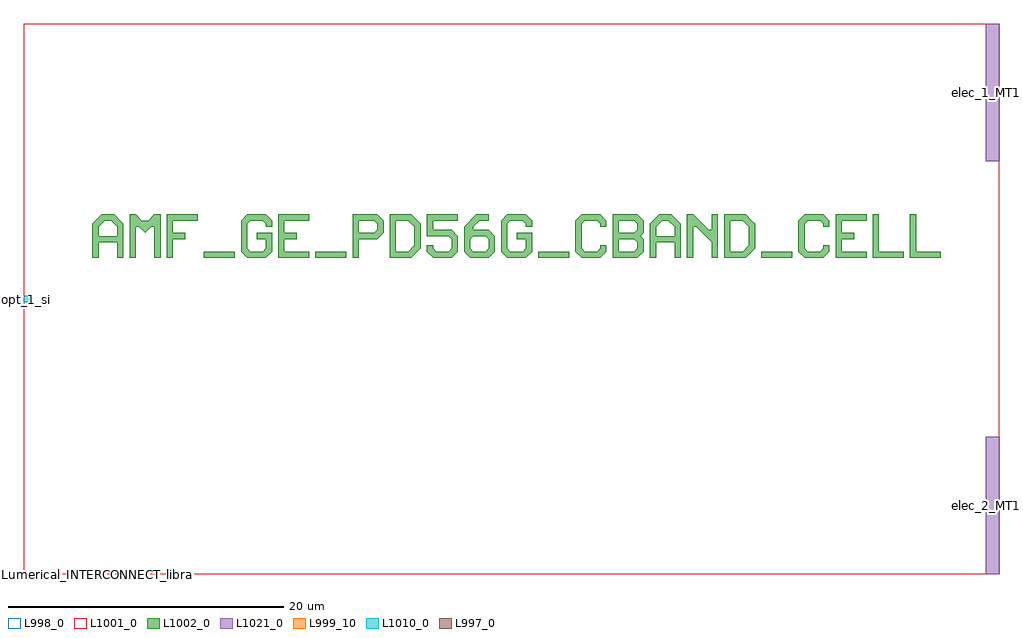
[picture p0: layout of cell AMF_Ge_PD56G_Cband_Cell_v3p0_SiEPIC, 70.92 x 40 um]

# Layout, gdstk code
import gdstk
lib = gdstk.Library(unit=1e-6, precision=1e-09)
def R(c, l, rs):  # rectangles x0, y0, x1, y1
    for r in rs: c.add(gdstk.rectangle(r[:2], r[2:], *l))
def A(c, l, x, y, w, h, nx, ny, dx, dy):  # array of equal rectangles
    R(c, l, [(x+i*dx, y+j*dy, x+i*dx+w, y+j*dy+h) for i in range(nx) for j in range(ny)])
def P(c, l, *ps):  # polygons
    for p in ps: c.add(gdstk.Polygon(p, *l))
L997_0 = (997, 0)
L998_0 = (998, 0)
L999_10 = (999, 10)
L1001_0 = (1001, 0)
L1002_0 = (1002, 0)
L1010_0 = (1010, 0)
L1021_0 = (1021, 0)

amf_ge_pd56g_cband_cell_ = lib.new_cell('AMF_Ge_PD56G_Cband_Cell_v3p0')
R(amf_ge_pd56g_cband_cell_, L1001_0, [(0,-20,70.9,20)])
A(amf_ge_pd56g_cband_cell_, L1002_0, 21.2, 3, 2.25, 0.45, 3, 1, 16.2, 0)
R(amf_ge_pd56g_cband_cell_, L1002_0, [(13.1,3,15.35,3.45)])
P(amf_ge_pd56g_cband_cell_, L1002_0, [(5,3),(5,5.475),(5.675,6.15),(6.575,6.15),(7.025,5.7),(5.9,5.7),(5.45,5.25),(5.45,4.575),(6.8,4.575),(6.8,5.25),(6.35,5.7),(7.025,5.7),(7.25,5.475),(7.25,3),(6.8,3),(6.8,4.125),(5.45,4.125),(5.45,3)],
  [(7.7,3),(7.7,6.15),(8.15,6.15),(8.6,5.7),(9.05,5.7),(9.5,6.15),(9.95,6.15),(9.95,3),(9.5,3),(9.5,5.25),(9.275,5.25),(8.825,4.8),(8.375,5.25),(8.15,5.25),(8.15,3)],
  [(10.4,3),(10.4,6.15),(12.65,6.15),(12.65,5.7),(10.85,5.7),(10.85,4.8),(11.75,4.8),(11.75,4.35),(10.85,4.35),(10.85,3)],
  [(16.25,3),(15.8,3.45),(15.8,5.7),(16.25,6.15),(17.6,6.15),(18.05,5.7),(18.05,5.25),(17.6,5.25),(17.6,5.475),(17.375,5.7),(16.475,5.7),(16.25,5.475),(16.25,3.675),(16.475,3.45),(17.375,3.45),(17.6,3.675),(17.6,4.35),(16.925,4.35),(16.925,4.8),(18.05,4.8),(18.05,3.45),(17.6,3)],
  [(18.5,3),(18.5,6.15),(20.75,6.15),(20.75,5.7),(18.95,5.7),(18.95,4.8),(19.85,4.8),(19.85,4.35),(18.95,4.35),(18.95,3.45),(20.75,3.45),(20.75,3)],
  [(23.9,3),(23.9,6.15),(25.7,6.15),(26.15,5.7),(26.15,4.8),(25.7,4.35),(24.35,4.35),(24.35,4.8),(25.475,4.8),(25.7,5.025),(25.7,5.475),(25.475,5.7),(24.35,5.7),(24.35,3)],
  [(26.6,3),(26.6,6.15),(28.175,6.15),(28.625,5.7),(27.05,5.7),(27.05,3.45),(27.95,3.45),(28.4,3.9),(28.4,5.25),(27.95,5.7),(28.625,5.7),(28.85,5.475),(28.85,3.675),(28.175,3)],
  [(29.75,3),(29.3,3.45),(29.3,3.9),(29.75,3.9),(29.75,3.675),(29.975,3.45),(30.875,3.45),(31.1,3.675),(31.1,4.35),(30.875,4.575),(29.3,4.575),(29.3,6.15),(31.55,6.15),(31.55,5.7),(29.75,5.7),(29.75,5.025),(31.1,5.025),(31.55,4.575),(31.55,3.45),(31.1,3)],
  [(32.45,3),(32,3.45),(32,5.25),(32.9,6.15),(33.8,6.15),(33.8,5.7),(33.125,5.7),(32.675,5.25),(32.675,5.025),(33.8,5.025),(34.25,4.575),(32.675,4.575),(32.45,4.35),(32.45,3.675),(32.675,3.45),(33.575,3.45),(33.8,3.675),(33.8,4.35),(33.575,4.575),(34.25,4.575),(34.25,3.45),(33.8,3)],
  [(35.15,3),(34.7,3.45),(34.7,5.7),(35.15,6.15),(36.5,6.15),(36.95,5.7),(36.95,5.25),(36.5,5.25),(36.5,5.475),(36.275,5.7),(35.375,5.7),(35.15,5.475),(35.15,3.675),(35.375,3.45),(36.275,3.45),(36.5,3.675),(36.5,4.35),(35.825,4.35),(35.825,4.8),(36.95,4.8),(36.95,3.45),(36.5,3)],
  [(40.55,3),(40.1,3.45),(40.1,5.7),(40.55,6.15),(41.9,6.15),(42.35,5.7),(42.35,5.25),(41.9,5.25),(41.9,5.475),(41.675,5.7),(40.775,5.7),(40.55,5.475),(40.55,3.675),(40.775,3.45),(41.675,3.45),(41.9,3.675),(41.9,3.9),(42.35,3.9),(42.35,3.45),(41.9,3)],
  [(42.8,3),(42.8,6.15),(44.6,6.15),(45.05,5.7),(43.25,5.7),(43.25,4.8),(44.375,4.8),(44.6,5.025),(44.6,5.475),(44.375,5.7),(45.05,5.7),(45.05,4.8),(44.825,4.575),(45.05,4.35),(43.25,4.35),(43.25,3.45),(44.375,3.45),(44.6,3.675),(44.6,4.125),(44.375,4.35),(45.05,4.35),(45.05,3.45),(44.6,3)],
  [(45.5,3),(45.5,5.475),(46.175,6.15),(47.075,6.15),(47.525,5.7),(46.4,5.7),(45.95,5.25),(45.95,4.575),(47.3,4.575),(47.3,5.25),(46.85,5.7),(47.525,5.7),(47.75,5.475),(47.75,3),(47.3,3),(47.3,4.125),(45.95,4.125),(45.95,3)],
  [(48.2,3),(48.2,6.15),(48.65,6.15),(49.775,5.025),(50,5.025),(50,6.15),(50.45,6.15),(50.45,3),(50,3),(50,4.125),(48.875,5.25),(48.65,5.25),(48.65,3)],
  [(50.9,3),(50.9,6.15),(52.475,6.15),(52.925,5.7),(51.35,5.7),(51.35,3.45),(52.25,3.45),(52.7,3.9),(52.7,5.25),(52.25,5.7),(52.925,5.7),(53.15,5.475),(53.15,3.675),(52.475,3)],
  [(56.75,3),(56.3,3.45),(56.3,5.7),(56.75,6.15),(58.1,6.15),(58.55,5.7),(58.55,5.25),(58.1,5.25),(58.1,5.475),(57.875,5.7),(56.975,5.7),(56.75,5.475),(56.75,3.675),(56.975,3.45),(57.875,3.45),(58.1,3.675),(58.1,3.9),(58.55,3.9),(58.55,3.45),(58.1,3)],
  [(59,3),(59,6.15),(61.25,6.15),(61.25,5.7),(59.45,5.7),(59.45,4.8),(60.35,4.8),(60.35,4.35),(59.45,4.35),(59.45,3.45),(61.25,3.45),(61.25,3)],
  [(61.7,3),(61.7,6.15),(62.15,6.15),(62.15,3.45),(63.95,3.45),(63.95,3)],
  [(64.4,3),(64.4,6.15),(64.85,6.15),(64.85,3.45),(66.65,3.45),(66.65,3)])
R(amf_ge_pd56g_cband_cell_, L1010_0, [(0,-0.25,0.5,0.25)])
R(amf_ge_pd56g_cband_cell_, L1021_0, [(69.9,-20,70.9,-10), (69.9,10,70.9,20)])
amf_ge_pd56g_cband_cell_.add(gdstk.Label('opt_1_si', (0,0), layer=1010, texttype=0))
amf_ge_pd56g_cband_cell_.add(gdstk.Label('elec_1_MT1', (70.9,15), layer=1021, texttype=0))
amf_ge_pd56g_cband_cell_.add(gdstk.Label('elec_2_MT1', (70.9,-15), layer=1021, texttype=0))

c_amf_ge_pd56g_cband_cell_ = lib.new_cell('AMF_Ge_PD56G_Cband_Cell_v3p0_SiEPIC')
R(c_amf_ge_pd56g_cband_cell_, L998_0, [(0,-20,70.9,20)])
c_amf_ge_pd56g_cband_cell_.add(gdstk.FlexPath([(0.01,0),(-0.01,0)], 0.5, ends="flush", simple_path=True, layer=997, datatype=0))  # L997_0
c_amf_ge_pd56g_cband_cell_.add(gdstk.FlexPath([(70.89,15),(70.91,15)], 10, ends="flush", simple_path=True, layer=999, datatype=10))  # L999_10
c_amf_ge_pd56g_cband_cell_.add(gdstk.FlexPath([(70.89,-15),(70.91,-15)], 10, ends="flush", simple_path=True, layer=999, datatype=10))  # L999_10
c_amf_ge_pd56g_cband_cell_.add(gdstk.Reference(amf_ge_pd56g_cband_cell_, (0,0)))
c_amf_ge_pd56g_cband_cell_.add(gdstk.Label('Lumerical_INTERCONNECT_library=Design kits/AMF_CML', (0,-20), layer=998, texttype=0))
c_amf_ge_pd56g_cband_cell_.add(gdstk.Label('Component=AMF_Ge_PD56G_Cband_Cell_v3p0', (0,-19.9), layer=998, texttype=0))
c_amf_ge_pd56g_cband_cell_.add(gdstk.Label('opt_1_si', (0,0), layer=997, texttype=0))
c_amf_ge_pd56g_cband_cell_.add(gdstk.Label('opt_1_si', (0,0), layer=997, texttype=0))
c_amf_ge_pd56g_cband_cell_.add(gdstk.Label('elec_1_MT1', (70.9,15), layer=999, texttype=10))
c_amf_ge_pd56g_cband_cell_.add(gdstk.Label('elec_2_MT1', (70.9,-15), layer=999, texttype=10))
c_amf_ge_pd56g_cband_cell_.add(gdstk.Label('elec_1_MT1', (70.9,15), layer=999, texttype=10))
c_amf_ge_pd56g_cband_cell_.add(gdstk.Label('elec_2_MT1', (70.9,-15), layer=999, texttype=10))

lib.write_gds('AMF_Ge_PD56G_Cband_Cell_v3p0_SiEPIC.gds')
